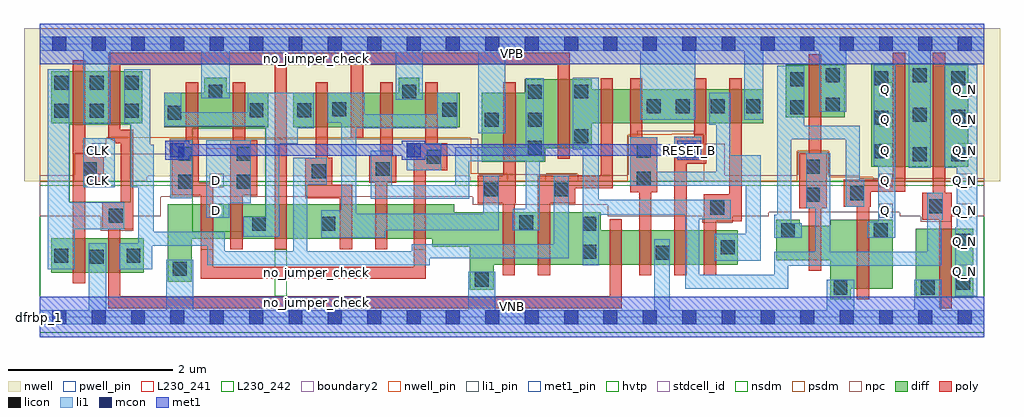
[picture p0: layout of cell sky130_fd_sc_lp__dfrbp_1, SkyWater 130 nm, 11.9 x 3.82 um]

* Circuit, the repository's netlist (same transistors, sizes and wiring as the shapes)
* Copyright 2020 The SkyWater PDK Authors
*
* Licensed under the Apache License, Version 2.0 (the "License");
* you may not use this file except in compliance with the License.
* You may obtain a copy of the License at
*
*     https://www.apache.org/licenses/LICENSE-2.0
*
* Unless required by applicable law or agreed to in writing, software
* distributed under the License is distributed on an "AS IS" BASIS,
* WITHOUT WARRANTIES OR CONDITIONS OF ANY KIND, either express or implied.
* See the License for the specific language governing permissions and
* limitations under the License.
*
* SPDX-License-Identifier: Apache-2.0

.SUBCKT sky130_fd_sc_lp__dfrbp_1 CLK D RESET_B VGND VNB VPB VPWR Q Q_N
*.PININFO CLK:I D:I RESET_B:I VGND:I VNB:I VPB:I VPWR:I Q:O Q_N:O
MI651 Q_N s0 VGND VNB sky130_fd_pr__nfet_01v8 m=1 w=0.84U l=0.15U mult=1 sa=0.265
+ sb=0.265 sd=0.28 area=0.063 perim=1.14
MI46 clkpos clkneg VGND VNB sky130_fd_pr__nfet_01v8 m=1 w=0.42U l=0.15U mult=1
+ sa=0.265 sb=0.265 sd=0.28 area=0.063 perim=1.14
MI42 db clkneg M0 VNB sky130_fd_pr__nfet_01v8 m=1 w=0.42U l=0.15U mult=1 sa=0.265
+ sb=0.265 sd=0.28 area=0.063 perim=1.14
MI656 net93 s0 net123 VNB sky130_fd_pr__nfet_01v8 m=1 w=0.42U l=0.15U mult=1 sa=0.265
+ sb=0.265 sd=0.28 area=0.063 perim=1.14
MI657 net123 RESET_B VGND VNB sky130_fd_pr__nfet_01v8 m=1 w=0.42U l=0.15U mult=1
+ sa=0.265 sb=0.265 sd=0.28 area=0.063 perim=1.14
MI33 net116 RESET_B VGND VNB sky130_fd_pr__nfet_01v8 m=1 w=0.42U l=0.15U mult=1
+ sa=0.265 sb=0.265 sd=0.28 area=0.063 perim=1.14
MI4 M0 clkpos net108 VNB sky130_fd_pr__nfet_01v8 m=1 w=0.42U l=0.15U mult=1 sa=0.265
+ sb=0.265 sd=0.28 area=0.063 perim=1.14
MI34 net108 M1 net116 VNB sky130_fd_pr__nfet_01v8 m=1 w=0.42U l=0.15U mult=1 sa=0.265
+ sb=0.265 sd=0.28 area=0.063 perim=1.14
MI655 s0 clkneg net92 VNB sky130_fd_pr__nfet_01v8 m=1 w=0.42U l=0.15U mult=1 sa=0.265
+ sb=0.265 sd=0.28 area=0.063 perim=1.14
MI652 net168 s0 VGND VNB sky130_fd_pr__nfet_01v8 m=1 w=0.42U l=0.15U mult=1 sa=0.265
+ sb=0.265 sd=0.28 area=0.063 perim=1.14
MI653 Q net168 VGND VNB sky130_fd_pr__nfet_01v8 m=1 w=0.84U l=0.15U mult=1 sa=0.265
+ sb=0.265 sd=0.28 area=0.063 perim=1.14
MI654 net92 net93 VGND VNB sky130_fd_pr__nfet_01v8 m=1 w=0.42U l=0.15U mult=1 sa=0.265
+ sb=0.265 sd=0.28 area=0.063 perim=1.14
MI44 clkneg CLK VGND VNB sky130_fd_pr__nfet_01v8 m=1 w=0.42U l=0.15U mult=1 sa=0.265
+ sb=0.265 sd=0.28 area=0.063 perim=1.14
MI647 M1 M0 VGND VNB sky130_fd_pr__nfet_01v8 m=1 w=0.64U l=0.15U mult=1 sa=0.265
+ sb=0.265 sd=0.28 area=0.063 perim=1.14
MI39 db D net76 VNB sky130_fd_pr__nfet_01v8 m=1 w=0.42U l=0.15U mult=1 sa=0.265
+ sb=0.265 sd=0.28 area=0.063 perim=1.14
MI38 net76 RESET_B VGND VNB sky130_fd_pr__nfet_01v8 m=1 w=0.42U l=0.15U mult=1
+ sa=0.265 sb=0.265 sd=0.28 area=0.063 perim=1.14
MI649 M1 clkpos s0 VNB sky130_fd_pr__nfet_01v8 m=1 w=0.64U l=0.15U mult=1 sa=0.265
+ sb=0.265 sd=0.28 area=0.063 perim=1.14
MI47 clkpos clkneg VPWR VPB sky130_fd_pr__pfet_01v8_hvt m=1 w=0.64U l=0.15U mult=1
+ sa=0.265 sb=0.265 sd=0.28 area=0.063 perim=1.14
MI43 db clkpos M0 VPB sky130_fd_pr__pfet_01v8_hvt m=1 w=0.42U l=0.15U mult=1 sa=0.265
+ sb=0.265 sd=0.28 area=0.063 perim=1.14
MI662 net196 net93 VPWR VPB sky130_fd_pr__pfet_01v8_hvt m=1 w=0.42U l=0.15U mult=1
+ sa=0.265 sb=0.265 sd=0.28 area=0.063 perim=1.14
MI659 net93 RESET_B VPWR VPB sky130_fd_pr__pfet_01v8_hvt m=1 w=0.42U l=0.15U mult=1
+ sa=0.265 sb=0.265 sd=0.28 area=0.063 perim=1.14
MI664 s0 clkpos net196 VPB sky130_fd_pr__pfet_01v8_hvt m=1 w=0.42U l=0.15U mult=1
+ sa=0.265 sb=0.265 sd=0.28 area=0.063 perim=1.14
MI658 net93 s0 VPWR VPB sky130_fd_pr__pfet_01v8_hvt m=1 w=0.42U l=0.15U mult=1
+ sa=0.265 sb=0.265 sd=0.28 area=0.063 perim=1.14
MI30 net175 M1 VPWR VPB sky130_fd_pr__pfet_01v8_hvt m=1 w=0.42U l=0.15U mult=1
+ sa=0.265 sb=0.265 sd=0.28 area=0.063 perim=1.14
MI31 M0 clkneg net175 VPB sky130_fd_pr__pfet_01v8_hvt m=1 w=0.42U l=0.15U mult=1
+ sa=0.265 sb=0.265 sd=0.28 area=0.063 perim=1.14
MI32 M0 RESET_B VPWR VPB sky130_fd_pr__pfet_01v8_hvt m=1 w=0.42U l=0.15U mult=1
+ sa=0.265 sb=0.265 sd=0.28 area=0.063 perim=1.14
MI663 net168 s0 VPWR VPB sky130_fd_pr__pfet_01v8_hvt m=1 w=0.64U l=0.15U mult=1
+ sa=0.265 sb=0.265 sd=0.28 area=0.063 perim=1.14
MI660 Q net168 VPWR VPB sky130_fd_pr__pfet_01v8_hvt m=1 w=1.26U l=0.15U mult=1
+ sa=0.265 sb=0.265 sd=0.28 area=0.063 perim=1.14
MI661 Q_N s0 VPWR VPB sky130_fd_pr__pfet_01v8_hvt m=1 w=1.26U l=0.15U mult=1 sa=0.265
+ sb=0.265 sd=0.28 area=0.063 perim=1.14
MI45 clkneg CLK VPWR VPB sky130_fd_pr__pfet_01v8_hvt m=1 w=0.64U l=0.15U mult=1
+ sa=0.265 sb=0.265 sd=0.28 area=0.063 perim=1.14
MI648 M1 M0 VPWR VPB sky130_fd_pr__pfet_01v8_hvt m=1 w=0.84U l=0.15U mult=1 sa=0.265
+ sb=0.265 sd=0.28 area=0.063 perim=1.14
MI41 db RESET_B VPWR VPB sky130_fd_pr__pfet_01v8_hvt m=1 w=0.42U l=0.15U mult=1
+ sa=0.265 sb=0.265 sd=0.28 area=0.063 perim=1.14
MI40 db D VPWR VPB sky130_fd_pr__pfet_01v8_hvt m=1 w=0.42U l=0.15U mult=1 sa=0.265
+ sb=0.265 sd=0.28 area=0.063 perim=1.14
MI650 M1 clkneg s0 VPB sky130_fd_pr__pfet_01v8_hvt m=1 w=0.84U l=0.15U mult=1 sa=0.265
+ sb=0.265 sd=0.28 area=0.063 perim=1.14
.ENDS sky130_fd_sc_lp__dfrbp_1

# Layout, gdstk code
import gdstk
lib = gdstk.Library(unit=1e-6, precision=1e-09)
def R(c, l, rs):  # rectangles x0, y0, x1, y1
    for r in rs: c.add(gdstk.rectangle(r[:2], r[2:], *l))
def A(c, l, x, y, w, h, nx, ny, dx, dy):  # array of equal rectangles
    R(c, l, [(x+i*dx, y+j*dy, x+i*dx+w, y+j*dy+h) for i in range(nx) for j in range(ny)])
def P(c, l, *ps):  # polygons
    for p in ps: c.add(gdstk.Polygon(p, *l))
nwell_pin = (64, 16)
nwell = (64, 20)
diff = (65, 20)
poly = (66, 20)
licon = (66, 44)
li1_pin = (67, 16)
li1 = (67, 20)
mcon = (67, 44)
met1_pin = (68, 16)
met1 = (68, 20)
hvtp = (78, 44)
stdcell_id = (81, 4)
nsdm = (93, 44)
psdm = (94, 20)
npc = (95, 20)
pwell_pin = (122, 16)
L230_241 = (230, 241)
L230_242 = (230, 242)
boundary2 = (236, 0)

sky130_fd_sc_lp__dfrbp_1 = lib.new_cell('sky130_fd_sc_lp__dfrbp_1')
R(sky130_fd_sc_lp__dfrbp_1, nwell_pin, [(0,3.085,11.52,3.33)])
P(sky130_fd_sc_lp__dfrbp_1, nwell, [(11.71,3.52),(-0.19,3.52),(-0.19,1.655),(1.315,1.655),(1.315,1.715),(5.25,1.715),(5.25,1.655),(11.71,1.655)])
R(sky130_fd_sc_lp__dfrbp_1, diff, [(10.685,0.235,11.385,1.075), (0.14,0.54,1.27,0.96), (10.14,1.835,11.325,3.095), (0.14,2.36,1.25,3), (9.095,2.435,9.815,3.075)])
P(sky130_fd_sc_lp__dfrbp_1, diff, [(2.79,2.735),(2.28,2.735),(2.28,2.915),(2.01,2.915),(2.01,2.735),(1.52,2.735),(1.52,2.315),(2.79,2.315)],
  [(5.12,2.735),(4.63,2.735),(4.63,2.915),(4.38,2.915),(4.38,2.735),(3.09,2.735),(3.09,2.315),(5.12,2.315)],
  [(8.515,1.06),(6.84,1.06),(6.84,1.28),(5.055,1.28),(5.055,1.375),(1.565,1.375),(1.565,0.43),(1.855,0.43),(1.855,0.955),(4.785,0.955),(4.785,0.86),(5.245,0.86),(5.245,0.33),(5.535,0.33),(5.535,0.64),(8.515,0.64)],
  [(8.825,2.78),(6.73,2.78),(6.73,2.9),(5.915,2.9),(5.915,2.735),(5.39,2.735),(5.39,1.895),(6.165,1.895),(6.165,2.06),(6.73,2.06),(6.73,2.36),(8.825,2.36)],
  [(10.4,1.185),(9.64,1.185),(9.64,1.115),(9.27,1.115),(9.27,1.185),(8.98,1.185),(8.98,0.695),(9.64,0.695),(9.64,0.215),(9.89,0.215),(9.89,0.345),(10.4,0.345)])
P(sky130_fd_sc_lp__dfrbp_1, poly, [(0.78,1.97),(0.555,1.97),(0.555,3.13),(0.405,3.13),(0.405,0.41),(0.555,0.41),(0.555,1.64),(0.78,1.64)],
  [(9.595,1.995),(9.53,1.995),(9.53,3.205),(9.38,3.205),(9.38,1.995),(9.265,1.995),(9.265,1.325),(9.38,1.325),(9.38,0.565),(9.53,0.565),(9.53,1.325),(9.595,1.325)],
  [(2.655,2.155),(2.505,2.155),(2.505,2.865),(2.355,2.865),(2.355,2.155),(2.325,2.155),(2.325,0.825),(2.475,0.825),(2.475,1.485),(2.655,1.485)],
  [(11.12,1.515),(11.04,1.515),(11.04,3.225),(10.89,3.225),(10.89,1.515),(10.765,1.515),(10.765,1.185),(10.97,1.185),(10.97,0.105),(11.12,0.105)],
  [(3.81,1.615),(3.57,1.615),(3.57,1.945),(3.515,1.945),(3.515,2.865),(3.365,2.865),(3.365,1.945),(3.24,1.945),(3.24,1.45),(3.66,1.45),(3.66,0.825),(3.81,0.825)],
  [(4.35,1.97),(4.305,1.97),(4.305,2.865),(4.155,2.865),(4.155,1.97),(4.02,1.97),(4.02,1.64),(4.09,1.64),(4.09,0.825),(4.24,0.825),(4.24,1.64),(4.35,1.64)],
  [(4.97,2.12),(4.855,2.12),(4.855,2.865),(4.705,2.865),(4.705,2.12),(4.56,2.12),(4.56,0.825),(4.71,0.825),(4.71,1.79),(4.97,1.79)],
  [(5.805,2.865),(5.655,2.865),(5.655,1.72),(5.34,1.72),(5.34,1.39),(5.645,1.39),(5.645,0.51),(5.795,0.51),(5.795,1.39),(5.805,1.39)],
  [(6.99,2.91),(6.84,2.91),(6.84,1.72),(6.075,1.72),(6.075,0.51),(6.225,0.51),(6.225,1.39),(6.53,1.39),(6.53,1.57),(6.99,1.57)],
  [(4.71,0.825),(4.56,0.825),(4.56,0.615),(2.115,0.615),(2.115,0.825),(1.965,0.825),(1.965,0.465),(4.71,0.465)],
  [(2.115,1.635),(1.94,1.635),(1.94,2.155),(1.935,2.155),(1.935,2.865),(1.785,2.865),(1.785,2.155),(1.61,2.155),(1.61,1.485),(1.965,1.485),(1.965,0.825),(2.115,0.825)],
  [(10.555,3.225),(10.405,3.225),(10.405,1.675),(9.805,1.675),(9.805,1.345),(9.965,1.345),(9.965,0.215),(10.115,0.215),(10.115,1.345),(10.135,1.345),(10.135,1.525),(10.555,1.525)],
  [(7.1,1.19),(6.95,1.19),(6.95,0.255),(0.985,0.255),(0.985,1.07),(1.14,1.07),(1.14,2.285),(0.985,2.285),(0.985,3.075),(2.865,3.075),(2.865,0.825),(3.015,0.825),(3.015,3.075),(3.795,3.075),(3.795,2.185),(3.945,2.185),(3.945,3.075),(6.315,3.075),(6.315,1.93),(6.465,1.93),(6.465,3.225),(0.835,3.225),(0.835,2.18),(0.87,2.18),(0.87,2.16),(0.89,2.16),(0.89,2.15),(0.91,2.15),(0.91,2.135),(0.93,2.135),(0.93,2.12),(0.99,2.12),(0.99,1.4),(0.765,1.4),(0.765,1.07),(0.835,1.07),(0.835,0.105),(7.1,0.105)],
  [(7.53,2.19),(7.35,2.19),(7.35,2.91),(7.2,2.91),(7.2,1.52),(7.31,1.52),(7.31,0.51),(7.46,0.51),(7.46,1.52),(7.53,1.52)],
  [(8.13,2.91),(7.98,2.91),(7.98,2.2),(7.74,2.2),(7.74,0.51),(7.89,0.51),(7.89,1.87),(8.13,1.87)],
  [(8.56,2.91),(8.41,2.91),(8.41,1.5),(8.1,1.5),(8.1,0.51),(8.25,0.51),(8.25,1.17),(8.56,1.17)])
A(sky130_fd_sc_lp__dfrbp_1, licon, 5.955, 1.98, 0.17, 0.17, 1, 3, 0, 0.34)
A(sky130_fd_sc_lp__dfrbp_1, licon, 0.18, 2.43, 0.17, 0.17, 3, 2, 0.43, 0.34)
A(sky130_fd_sc_lp__dfrbp_1, licon, 7.755, 2.485, 0.17, 0.17, 3, 1, 0.43, 0)
R(sky130_fd_sc_lp__dfrbp_1, licon, [(9.68,0.275,9.85,0.445), (10.745,0.275,10.915,0.445), (11.175,0.335,11.345,0.505), (5.305,0.37,5.475,0.54), (1.625,0.505,1.795,0.675), (0.61,0.65,0.78,0.82), (0.18,0.665,0.35,0.835), (1.06,0.665,1.23,0.835), (7.515,0.7,7.685,0.87), (6.62,0.71,6.79,0.88), (8.305,0.765,8.475,0.935), (11.175,0.845,11.345,1.015), (9.04,0.975,9.21,1.145), (10.17,0.975,10.34,1.145), (2.59,1.05,2.76,1.22), (3.435,1.05,3.605,1.22), (6.62,1.05,6.79,1.22), (5.85,1.07,6.02,1.24), (0.845,1.15,1.015,1.32), (8.18,1.25,8.35,1.42), (10.845,1.265,11.015,1.435), (9.345,1.405,9.515,1.575), (9.885,1.425,10.055,1.595), (5.42,1.47,5.59,1.64), (6.28,1.47,6.45,1.64), (1.69,1.565,1.86,1.735), (2.405,1.565,2.575,1.735), (7.28,1.6,7.45,1.77), (3.32,1.695,3.49,1.865), (0.53,1.72,0.7,1.89), (4.1,1.72,4.27,1.89), (9.345,1.745,9.515,1.915), (4.72,1.87,4.89,2.04), (10.645,1.9,10.815,2.07), (11.115,1.9,11.285,2.07), (1.69,1.905,1.86,2.075), (2.405,1.905,2.575,2.075), (10.18,1.935,10.35,2.105), (7.28,1.94,7.45,2.11), (7.82,1.95,7.99,2.12), (6.52,2.12,6.69,2.29), (5.43,2.32,5.6,2.49), (10.18,2.345,10.35,2.515), (11.115,2.36,11.285,2.53), (10.645,2.38,10.815,2.55), (1.56,2.405,1.73,2.575), (2.56,2.435,2.73,2.605), (3.14,2.435,3.31,2.605), (4.91,2.445,5.08,2.615), (3.57,2.45,3.74,2.62), (9.155,2.475,9.325,2.645), (7.405,2.485,7.575,2.655), (9.585,2.505,9.755,2.675), (2.06,2.665,2.23,2.835), (4.42,2.665,4.59,2.835), (6.52,2.665,6.69,2.835), (9.155,2.815,9.325,2.985), (10.18,2.825,10.35,2.995), (11.115,2.825,11.285,2.995), (9.585,2.865,9.755,3.035), (10.645,2.865,10.815,3.035)])
A(sky130_fd_sc_lp__dfrbp_1, li1_pin, 11.195, 0.47, 0.17, 0.17, 1, 7, 0, 0.37)
A(sky130_fd_sc_lp__dfrbp_1, li1_pin, 10.235, 1.21, 0.17, 0.17, 1, 5, 0, 0.37)
R(sky130_fd_sc_lp__dfrbp_1, li1_pin, [(2.075,1.21,2.245,1.38), (0.635,1.58,0.805,1.75), (2.075,1.58,2.245,1.75), (0.635,1.95,0.805,2.12)])
R(sky130_fd_sc_lp__dfrbp_1, li1, [(1.595,1.45,1.86,2.155), (0.53,1.58,0.915,2.18), (4.475,1.79,4.9,2.12), (7.74,1.94,8.07,2.2)])
P(sky130_fd_sc_lp__dfrbp_1, li1, [(11.015,1.515),(10.825,1.515),(10.825,0.795),(9.64,0.795),(9.64,1.995),(9.345,1.995),(9.345,1.325),(9.46,1.325),(9.46,0.795),(8.96,0.795),(8.96,0.515),(8.045,0.515),(8.045,1.19),(8.43,1.19),(8.43,1.43),(6.89,1.43),(6.89,1.25),(7.875,1.25),(7.875,0.345),(9.13,0.345),(9.13,0.625),(10.995,0.625),(10.995,1.185),(11.015,1.185)],
  [(11.52,0.085),(10.995,0.085),(10.995,0.455),(10.665,0.455),(10.665,0.085),(9.93,0.085),(9.93,0.455),(9.6,0.455),(9.6,0.085),(7.685,0.085),(7.685,0.95),(7.495,0.95),(7.495,0.085),(6.89,0.085),(6.89,-0.085),(11.52,-0.085)],
  [(6.145,2.91),(5.93,2.91),(5.93,2.07),(5.07,2.07),(5.07,1.61),(4.295,1.61),(4.295,2.03),(4.04,2.03),(4.04,1.44),(5.24,1.44),(5.24,1.9),(5.93,1.9),(5.93,1.32),(5.77,1.32),(5.77,1.06),(6.1,1.06),(6.1,1.9),(6.145,1.9)],
  [(11.52,3.415),(6.89,3.415),(6.89,3.245),(7.325,3.245),(7.325,2.405),(7.995,2.405),(7.995,3.245),(8.59,3.245),(8.59,2.405),(8.825,2.405),(8.825,3.245),(9.505,3.245),(9.505,2.505),(9.835,2.505),(9.835,3.245),(10.6,3.245),(10.6,1.82),(10.865,1.82),(10.865,3.245),(11.52,3.245)],
  [(6.45,1.72),(6.27,1.72),(6.27,0.89),(4.54,0.89),(4.54,0.8),(3.265,0.8),(3.265,1.615),(3.5,1.615),(3.5,1.945),(3.095,1.945),(3.095,0.8),(2.255,0.8),(2.255,1.04),(1.395,1.04),(1.395,2.1),(1.35,2.1),(1.35,3.02),(1.03,3.02),(1.03,2.35),(1.11,2.35),(1.11,1.58),(1.205,1.58),(1.205,0.9),(0.98,0.9),(0.98,0.585),(1.375,0.585),(1.375,0.87),(2.045,0.87),(2.045,0.63),(4.755,0.63),(4.755,0.72),(6.45,0.72)],
  [(8.79,1.97),(8.42,1.97),(8.42,2.735),(8.165,2.735),(8.165,2.345),(8.25,2.345),(8.25,1.77),(7.53,1.77),(7.53,2.19),(7.2,2.19),(7.2,1.6),(8.61,1.6),(8.61,1.015),(8.225,1.015),(8.225,0.685),(8.79,0.685)],
  [(3.345,2.735),(2.54,2.735),(2.54,2.495),(1.73,2.495),(1.73,2.735),(1.52,2.735),(1.52,2.325),(2.755,2.325),(2.755,1.22),(2.485,1.22),(2.485,0.98),(2.925,0.98),(2.925,2.115),(3.15,2.115),(3.15,2.3),(3.345,2.3)],
  [(11.435,3.075),(11.035,3.075),(11.035,1.82),(11.185,1.82),(11.185,1.095),(11.165,1.095),(11.165,0.255),(11.435,0.255)],
  [(1.035,1.4),(0.36,1.4),(0.36,3.02),(0.1,3.02),(0.1,0.585),(0.43,0.585),(0.43,1.07),(1.035,1.07)],
  [(10.055,1.675),(10,1.675),(10,2.335),(9.325,2.335),(9.325,3.065),(8.995,3.065),(8.995,1.25),(8.96,1.25),(8.96,0.965),(9.29,0.965),(9.29,1.145),(9.165,1.145),(9.165,2.165),(9.83,2.165),(9.83,1.345),(10.055,1.345)],
  [(6.89,3.415),(0,3.415),(0,3.245),(0.53,3.245),(0.53,2.35),(0.86,2.35),(0.86,3.245),(1.97,3.245),(1.97,2.665),(2.32,2.665),(2.32,3.245),(4.34,3.245),(4.34,2.65),(4.67,2.65),(4.67,3.245),(5.35,3.245),(5.35,2.24),(5.68,2.24),(5.68,3.245),(6.89,3.245)],
  [(6.89,0.085),(5.555,0.085),(5.555,0.55),(5.225,0.55),(5.225,0.085),(1.875,0.085),(1.875,0.7),(1.545,0.7),(1.545,0.085),(0.81,0.085),(0.81,0.9),(0.6,0.9),(0.6,0.085),(0,0.085),(0,-0.085),(6.89,-0.085)],
  [(6.89,1.43),(6.82,1.43),(6.82,2.915),(6.5,2.915),(6.5,2.04),(6.62,2.04),(6.62,0.63),(6.82,0.63),(6.82,1.25),(6.89,1.25)],
  [(2.575,2.155),(2.03,2.155),(2.03,1.21),(2.315,1.21),(2.315,1.39),(2.575,1.39)],
  [(5.6,1.72),(5.41,1.72),(5.41,1.26),(3.86,1.26),(3.86,2.3),(5.095,2.3),(5.095,2.735),(4.85,2.735),(4.85,2.47),(3.965,2.47),(3.965,2.735),(3.515,2.735),(3.515,2.37),(3.68,2.37),(3.68,1.3),(3.435,1.3),(3.435,0.97),(4.215,0.97),(4.215,1.06),(5.6,1.06)],
  [(10.43,3.075),(10.17,3.075),(10.17,1.845),(10.225,1.845),(10.225,1.165),(10.09,1.165),(10.09,0.965),(10.43,0.965)])
A(sky130_fd_sc_lp__dfrbp_1, mcon, 0.155, -0.085, 0.17, 0.17, 24, 2, 0.48, 3.33)
R(sky130_fd_sc_lp__dfrbp_1, mcon, [(1.595,1.95,1.765,2.12), (4.475,1.95,4.645,2.12), (7.835,1.95,8.005,2.12)])
R(sky130_fd_sc_lp__dfrbp_1, met1_pin, [(0,0,11.52,0.245), (7.835,1.95,8.005,2.12), (0,3.085,11.52,3.33)])
R(sky130_fd_sc_lp__dfrbp_1, met1, [(0,-0.245,11.52,0.245), (0,3.085,11.52,3.575)])
P(sky130_fd_sc_lp__dfrbp_1, met1, [(1.825,2.105),(4.415,2.105),(4.415,2.15),(4.705,2.15),(4.705,2.105),(7.775,2.105),(7.775,2.15),(8.065,2.15),(8.065,1.92),(7.775,1.92),(7.775,1.965),(4.705,1.965),(4.705,1.92),(4.415,1.92),(4.415,1.965),(1.825,1.965),(1.825,1.92),(1.535,1.92),(1.535,2.15),(1.825,2.15)])
R(sky130_fd_sc_lp__dfrbp_1, hvtp, [(0,1.6,11.52,3.33)])
R(sky130_fd_sc_lp__dfrbp_1, stdcell_id, [(0,0,11.52,3.33)])
R(sky130_fd_sc_lp__dfrbp_1, nsdm, [(0,-0.19,11.52,1.655)])
P(sky130_fd_sc_lp__dfrbp_1, psdm, [(11.52,3.52),(0,3.52),(0,1.655),(0.42,1.655),(0.42,2),(0.81,2),(0.81,2.185),(5.26,2.185),(5.26,1.75),(5.7,1.75),(5.7,1.655),(6.17,1.655),(6.17,1.75),(6.56,1.75),(6.56,1.655),(7.17,1.655),(7.17,2.22),(7.71,2.22),(7.71,2.23),(8.1,2.23),(8.1,1.655),(9.235,1.655),(9.235,2.025),(9.625,2.025),(9.625,1.705),(10.165,1.705),(10.165,1.655),(11.52,1.655)])
P(sky130_fd_sc_lp__dfrbp_1, npc, [(11.52,1.695),(10,1.695),(10,1.73),(9.615,1.73),(9.615,2.015),(9.245,2.015),(9.245,1.73),(8.355,1.73),(8.355,2.115),(8.09,2.115),(8.09,2.22),(7.985,2.22),(7.985,2.27),(7.285,2.27),(7.285,2.21),(7.18,2.21),(7.18,1.73),(6.55,1.73),(6.55,1.74),(5.35,1.74),(5.35,2.175),(1.59,2.175),(1.59,1.99),(0.43,1.99),(0.43,1.73),(0,1.73),(0,1.23),(0.745,1.23),(0.745,1.05),(1.145,1.05),(1.145,1.23),(1.475,1.23),(1.475,1.465),(5.28,1.465),(5.28,1.37),(6.93,1.37),(6.93,1.23),(8.08,1.23),(8.08,1.15),(8.45,1.15),(8.45,1.23),(8.89,1.23),(8.89,1.275),(10.49,1.275),(10.49,1.23),(10.745,1.23),(10.745,1.165),(11.115,1.165),(11.115,1.23),(11.52,1.23)])
R(sky130_fd_sc_lp__dfrbp_1, pwell_pin, [(0,0,11.52,0.245)])
R(sky130_fd_sc_lp__dfrbp_1, L230_241, [(0.53,1.58,0.915,2.18)])
P(sky130_fd_sc_lp__dfrbp_1, L230_241, [(2.575,2.06),(2.03,2.06),(2.03,1.21),(2.315,1.21),(2.315,1.39),(2.575,1.39)])
R(sky130_fd_sc_lp__dfrbp_1, L230_242, [(2.865,0.255,3.015,0.825), (0.36,1.4,1.11,2.35)])
P(sky130_fd_sc_lp__dfrbp_1, L230_242, [(4.71,0.825),(4.56,0.825),(4.56,0.615),(2.115,0.615),(2.115,0.825),(1.965,0.825),(1.965,0.465),(4.71,0.465)],
  [(2.755,2.3),(1.86,2.3),(1.86,1.04),(2.485,1.04),(2.485,1.22),(2.755,1.22)])
R(sky130_fd_sc_lp__dfrbp_1, boundary2, [(0,0,11.52,3.33)])
sky130_fd_sc_lp__dfrbp_1.add(gdstk.Label('VNB', (5.76,0.123), layer=64, texttype=59))
sky130_fd_sc_lp__dfrbp_1.add(gdstk.Label('VPB', (5.76,3.208), layer=64, texttype=5))
sky130_fd_sc_lp__dfrbp_1.add(gdstk.Label('dfrbp_1', (0,0), layer=83, texttype=44))
sky130_fd_sc_lp__dfrbp_1.add(gdstk.Label('no_jumper_check', (3.38,3.15), layer=83, texttype=44))
sky130_fd_sc_lp__dfrbp_1.add(gdstk.Label('no_jumper_check', (3.38,0.54), layer=83, texttype=44))
sky130_fd_sc_lp__dfrbp_1.add(gdstk.Label('no_jumper_check', (3.38,0.18), layer=83, texttype=44))
sky130_fd_sc_lp__dfrbp_1.add(gdstk.Label('RESET_B', (7.92,2.035), layer=68, texttype=5))
sky130_fd_sc_lp__dfrbp_1.add(gdstk.Label('VPWR', (5.76,3.208), layer=68, texttype=5))
sky130_fd_sc_lp__dfrbp_1.add(gdstk.Label('VGND', (5.76,0.123), layer=68, texttype=5))
sky130_fd_sc_lp__dfrbp_1.add(gdstk.Label('CLK', (0.72,1.665), layer=67, texttype=5))
sky130_fd_sc_lp__dfrbp_1.add(gdstk.Label('CLK', (0.72,2.035), layer=67, texttype=5))
sky130_fd_sc_lp__dfrbp_1.add(gdstk.Label('D', (2.16,1.295), layer=67, texttype=5))
sky130_fd_sc_lp__dfrbp_1.add(gdstk.Label('D', (2.16,1.665), layer=67, texttype=5))
sky130_fd_sc_lp__dfrbp_1.add(gdstk.Label('Q', (10.32,1.295), layer=67, texttype=5))
sky130_fd_sc_lp__dfrbp_1.add(gdstk.Label('Q', (10.32,1.665), layer=67, texttype=5))
sky130_fd_sc_lp__dfrbp_1.add(gdstk.Label('Q', (10.32,2.035), layer=67, texttype=5))
sky130_fd_sc_lp__dfrbp_1.add(gdstk.Label('Q', (10.32,2.405), layer=67, texttype=5))
sky130_fd_sc_lp__dfrbp_1.add(gdstk.Label('Q', (10.32,2.775), layer=67, texttype=5))
sky130_fd_sc_lp__dfrbp_1.add(gdstk.Label('Q_N', (11.28,0.555), layer=67, texttype=5))
sky130_fd_sc_lp__dfrbp_1.add(gdstk.Label('Q_N', (11.28,0.925), layer=67, texttype=5))
sky130_fd_sc_lp__dfrbp_1.add(gdstk.Label('Q_N', (11.28,1.295), layer=67, texttype=5))
sky130_fd_sc_lp__dfrbp_1.add(gdstk.Label('Q_N', (11.28,1.665), layer=67, texttype=5))
sky130_fd_sc_lp__dfrbp_1.add(gdstk.Label('Q_N', (11.28,2.035), layer=67, texttype=5))
sky130_fd_sc_lp__dfrbp_1.add(gdstk.Label('Q_N', (11.28,2.405), layer=67, texttype=5))
sky130_fd_sc_lp__dfrbp_1.add(gdstk.Label('Q_N', (11.28,2.775), layer=67, texttype=5))

lib.write_gds('sky130_fd_sc_lp__dfrbp_1.gds')
